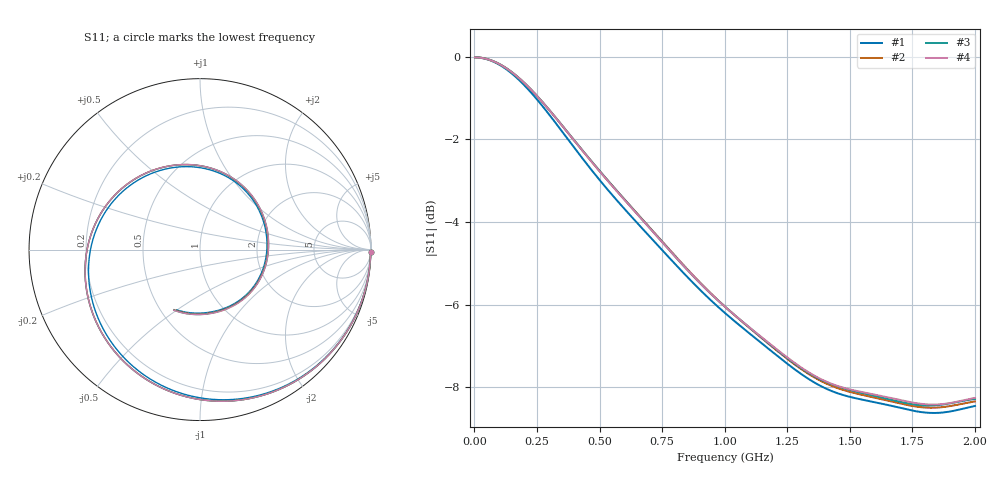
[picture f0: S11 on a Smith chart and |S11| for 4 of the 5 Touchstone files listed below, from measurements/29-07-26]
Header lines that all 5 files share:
! TOUCHSTONE file generated by CST MICROWAVE STUDIO
! Project name: Sonda-Coaxial_21mm_DisifixB_v2.cst
! Header version: 2018
! Port assignment regex: !\s*Touchstone port\s*([0-9]+)\s*=\s*(CST MWS port|CST DS port)\s*([0-9]+|Zmin|Zmax)\s*\(\"(.*)\"\)(\s*mode\s*([0-9]+))?.*
! Touchstone port assignment:
! Touchstone port 1 = CST MWS port 1 ("")
# GHz S RI R 50
Fixed: h_recipiente = 5, l_conector = 50, r_arandela = 35, r_ext = 10.5, r_int = 3, r_recipiente = 100
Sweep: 2 MHz to 2 GHz
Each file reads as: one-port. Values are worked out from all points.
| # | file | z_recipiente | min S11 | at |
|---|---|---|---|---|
| 1 | Sonda-Coaxial_21mm_DisifixB_v2_1.s1p | -10 | -8.6 dB | 1.836 GHz |
| 2 | Sonda-Coaxial_21mm_DisifixB_v2_2.s1p | -30 | -8.5 dB | 1.826 GHz |
| 3 | Sonda-Coaxial_21mm_DisifixB_v2_3.s1p | -50 | -8.4 dB | 1.814 GHz |
| 4 | Sonda-Coaxial_21mm_DisifixB_v2_4.s1p | -80 | -8.4 dB | 1.832 GHz |
| 5 | Sonda-Coaxial_21mm_DisifixB_v2_5.s1p | -100 | -8.4 dB | 1.832 GHz |
